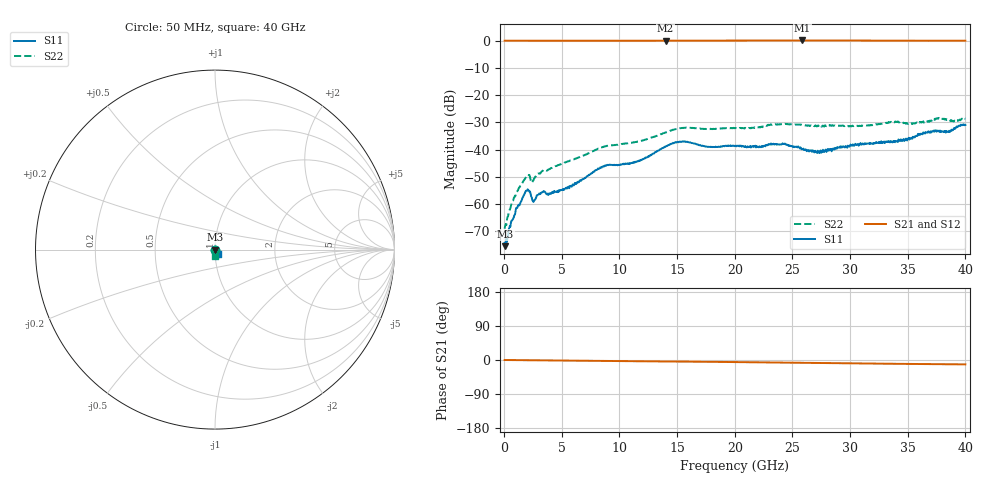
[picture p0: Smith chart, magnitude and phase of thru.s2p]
!Keysight Technologies,N5247B,MY61255062,A.15.50.07
!Date: Thursday, February 13, 2025 12:17:45
!Correction: S11(C  2-Port  )
!S21(C  2-Port  )
!S12(C  2-Port  )
!S22(C  2-Port  )
!S2P File: Measurements: S11, S21, S12, S22:
# Hz S  MA  R 50
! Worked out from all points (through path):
!   800 points, 50 MHz to 40 GHz, reference 50 ohm
!   highest |S21| = 0.08 dB at 25.85 GHz (marker M1); lowest = 0.0 dB at 14 GHz (marker M2)
!   group delay of S21, straight-line fit = 820 fs
!   lowest |S11| = -75.5 dB at 100 MHz (marker M3), VSWR 1.00, Z = 50 + j0.00122 ohm
!   |S11| at or under -10 dB: start of sweep to end of sweep
!   |S22| runs from -69.1 to -28.4 dB; largest |S21 - S12| = 0.0015
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5e7  0.0001925 165.1  0.9999 -0.0  1 -0.0  0.0003519 -8.4
1e8  0.0001682 175.8  0.9999 -0.0  1 -0.0  0.0003997 -18.4
8.5e8  0.0005758 -111.1  1 -0.3  1 -0.3  0.001294 -75.1
1.95e9  0.001748 -118.1  0.9995 -0.6  0.9997 -0.6  0.003224 -95.1
2.6e9  0.001166 -119.3  0.9996 -0.8  0.9999 -0.8  0.002926 -92.0
3.4e9  0.001684 -110.5  0.9994 -1.0  0.9996 -1.0  0.004163 -94.8
4.7e9  0.001765 -97.7  0.9994 -1.4  0.9997 -1.4  0.005228 -90.8
6.75e9  0.002799 -75.2  0.9984 -2.1  0.9983 -2.1  0.007546 -85.6
8.75e9  0.005088 -75.3  0.9966 -2.6  0.9964 -2.6  0.01147 -87.4
1.14e10  0.005858 -72.0  0.9968 -3.3  0.9967 -3.3  0.01375 -89.2
1.34e10  0.009619 -64.9  0.995 -3.7  0.9948 -3.7  0.01848 -85.2
1.4e10  0.01132 -69.3  0.9948 -3.8  0.9947 -3.8  0.02074 -86.6
1.55e10  0.01406 -88.3  0.9976 -4.0  0.9975 -4.0  0.02494 -97.6
1.77e10  0.01121 -100.3  1.003 -4.7  1.002 -4.7  0.0239 -106.7
2.005e10  0.01171 -98.5  1.005 -5.5  1.005 -5.5  0.02475 -108.2
2.43e10  0.01269 -100.8  1.009 -6.8  1.009 -6.9  0.02946 -110.9
2.585e10  0.01023 -99.9  1.01 -7.5  1.009 -7.5  0.02826 -113.7
2.67e10  0.009045 -91.3  1.009 -7.8  1.009 -7.9  0.02704 -112.2
3.335e10  0.01374 -58.6  1.001 -9.9  1.001 -10.0  0.03214 -100.3
3.72e10  0.02204 -50.2  0.9985 -10.9  0.9984 -10.9  0.03417 -93.8
3.85e10  0.02098 -51.5  1.001 -11.2  1.001 -11.2  0.03551 -102.0
4e10  0.02835 -55.5  0.9995 -11.6  0.9995 -11.6  0.03692 -94.3
